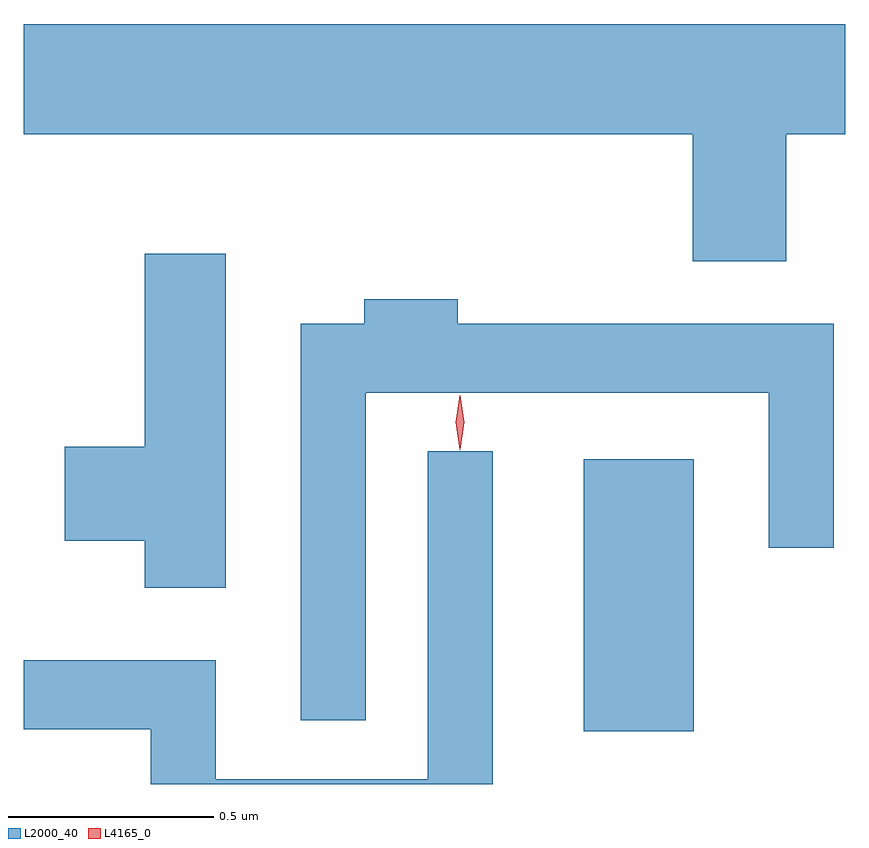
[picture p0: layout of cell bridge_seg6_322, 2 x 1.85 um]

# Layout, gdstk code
import gdstk
lib = gdstk.Library(unit=1e-6, precision=1e-09)
def R(c, l, rs):  # rectangles x0, y0, x1, y1
    for r in rs: c.add(gdstk.rectangle(r[:2], r[2:], *l))
def P(c, l, *ps):  # polygons
    for p in ps: c.add(gdstk.Polygon(p, *l))
L2000_40 = (2000, 40)
L4165_0 = (4165, 0)

bridge_seg6_322 = lib.new_cell('bridge_seg6_322')
R(bridge_seg6_322, L2000_40, [(1266.056,1555.241,1266.324,1555.904)])
P(bridge_seg6_322, L2000_40, [(1266.549,1556.696),(1266.692,1556.696),(1266.692,1556.964),(1264.692,1556.964),(1264.692,1556.696),(1266.321,1556.696),(1266.321,1556.386),(1266.549,1556.386)],
  [(1265.184,1556.404),(1264.986,1556.404),(1264.986,1555.934),(1264.791,1555.934),(1264.791,1555.706),(1264.986,1555.706),(1264.986,1555.591),(1265.184,1555.591)],
  [(1265.524,1556.066),(1266.506,1556.066),(1266.506,1555.688),(1266.664,1555.688),(1266.664,1556.234),(1265.749,1556.234),(1265.749,1556.294),(1265.521,1556.294),(1265.521,1556.234),(1265.366,1556.234),(1265.366,1555.268),(1265.524,1555.268)],
  [(1265.834,1555.923),(1265.676,1555.923),(1265.676,1555.124),(1265.159,1555.124),(1265.159,1555.414),(1264.692,1555.414),(1264.692,1555.246),(1265.001,1555.246),(1265.001,1555.113),(1265.834,1555.113)])
P(bridge_seg6_322, L4165_0, [(1265.754,1555.927),(1265.744,1555.994),(1265.754,1556.06),(1265.754,1556.06),(1265.755,1556.06),(1265.764,1555.994),(1265.755,1555.927),(1265.755,1555.927)])

lib.write_gds('bridge_seg6_322.gds')
